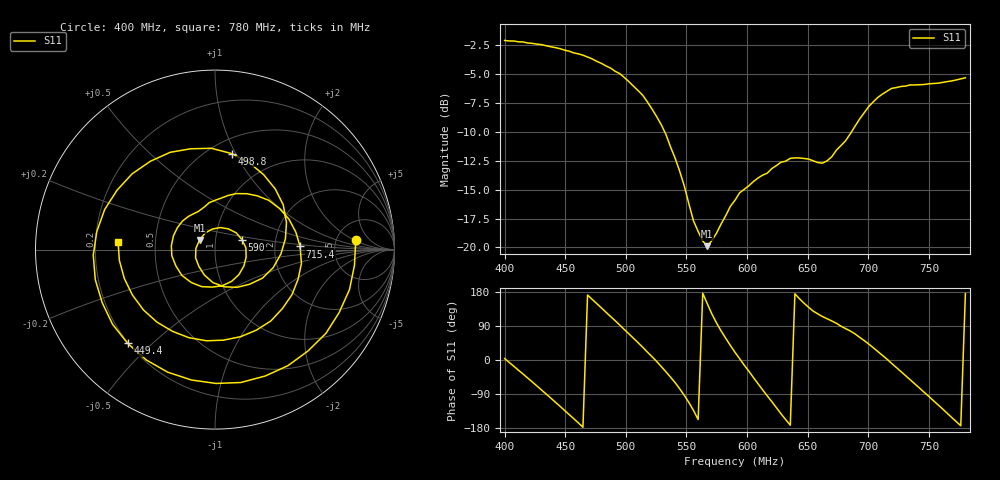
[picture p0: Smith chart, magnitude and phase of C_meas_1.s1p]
# HZ S RI R 50
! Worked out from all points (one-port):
!   101 points, 400 MHz to 780 MHz, reference 50 ohm
!   lowest |S11| = -19.9 dB at 567.2 MHz (marker M1), VSWR 1.23, Z = 41.8 + j4.51 ohm
!   |S11| at or under -10 dB: 532 MHz to 686.1 MHz (154.1 MHz wide, 25.3 % of centre)
!   S11 on the Smith chart (normalised r, x): 400 MHz: 7.73, +2.16; 449.4 MHz: 0.20, -0.42; 498.8 MHz: 0.64, +0.96; 590 MHz: 1.34, +0.15; 715.4 MHz: 2.80, +0.13; 780 MHz: 0.30, +0.04
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4e8  0.7842 0.0533
4.114e8  0.6916 -0.3509
4.266e8  0.2799 -0.7043
4.38e8  -0.1315 -0.7265
4.494e8  -0.4863 -0.5223
4.608e8  -0.667 -0.1677
4.684e8  -0.659 0.0989
4.836e8  -0.3598 0.4923
4.95e8  -0.0203 0.5645
4.988e8  0.0923 0.5352
5.178e8  0.3983 0.1505
5.33e8  0.2642 -0.1592
5.444e8  0.0519 -0.2072
5.558e8  -0.0891 -0.0949
5.672e8  -0.0861 0.0533
5.9e8  0.1501 0.0556
6.014e8  0.1612 -0.0905
6.166e8  -0.0168 -0.209
6.394e8  -0.2431 0.0225
6.622e8  -0.096 0.2108
6.85e8  0.0719 0.3013
7.002e8  0.3002 0.2743
7.154e8  0.4739 0.0175
7.344e8  0.3113 -0.3973
7.458e8  0.0474 -0.5045
7.572e8  -0.2379 -0.4548
7.686e8  -0.4607 -0.252
7.8e8  -0.5401 0.0445
